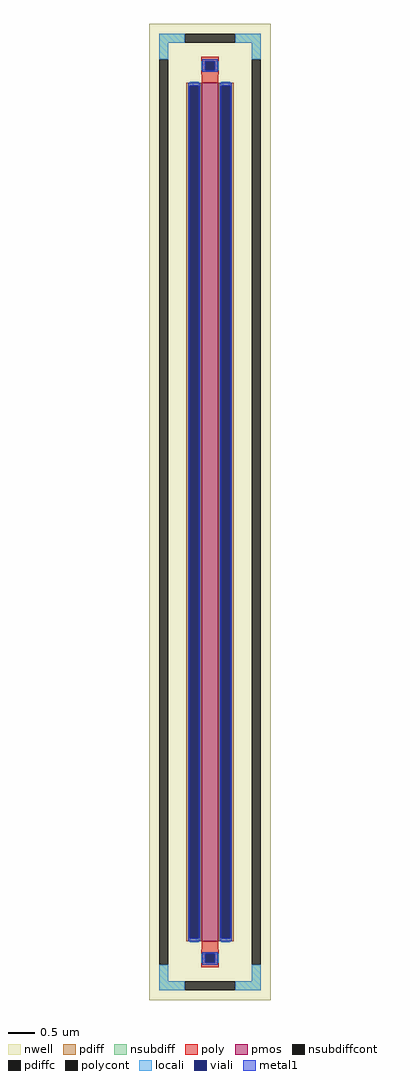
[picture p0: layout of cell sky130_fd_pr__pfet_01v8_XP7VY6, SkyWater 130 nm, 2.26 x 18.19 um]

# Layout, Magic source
magic
tech sky130A
magscale 1 2
<< nwell >>
rect -226 -1819 226 1819
<< pmos >>
rect -30 -1600 30 1600
<< pdiff >>
rect -88 1588 -30 1600
rect -88 -1588 -76 1588
rect -42 -1588 -30 1588
rect -88 -1600 -30 -1588
rect 30 1588 88 1600
rect 30 -1588 42 1588
rect 76 -1588 88 1588
rect 30 -1600 88 -1588
<< pdiffc >>
rect -76 -1588 -42 1588
rect 42 -1588 76 1588
<< nsubdiff >>
rect -190 1749 -94 1783
rect 94 1749 190 1783
rect -190 1687 -156 1749
rect 156 1687 190 1749
rect -190 -1749 -156 -1687
rect 156 -1749 190 -1687
rect -190 -1783 -94 -1749
rect 94 -1783 190 -1749
<< nsubdiffcont >>
rect -94 1749 94 1783
rect -190 -1687 -156 1687
rect 156 -1687 190 1687
rect -94 -1783 94 -1749
<< poly >>
rect -33 1681 33 1697
rect -33 1647 -17 1681
rect 17 1647 33 1681
rect -33 1631 33 1647
rect -30 1600 30 1631
rect -30 -1631 30 -1600
rect -33 -1647 33 -1631
rect -33 -1681 -17 -1647
rect 17 -1681 33 -1647
rect -33 -1697 33 -1681
<< polycont >>
rect -17 1647 17 1681
rect -17 -1681 17 -1647
<< locali >>
rect -190 1749 -94 1783
rect 94 1749 190 1783
rect -190 1687 -156 1749
rect 156 1687 190 1749
rect -33 1647 -17 1681
rect 17 1647 33 1681
rect -76 1588 -42 1604
rect -76 -1604 -42 -1588
rect 42 1588 76 1604
rect 42 -1604 76 -1588
rect -33 -1681 -17 -1647
rect 17 -1681 33 -1647
rect -190 -1749 -156 -1687
rect 156 -1749 190 -1687
rect -190 -1783 -94 -1749
rect 94 -1783 190 -1749
<< viali >>
rect -17 1647 17 1681
rect -76 -1588 -42 1588
rect 42 -1588 76 1588
rect -17 -1681 17 -1647
<< metal1 >>
rect -29 1681 29 1687
rect -29 1647 -17 1681
rect 17 1647 29 1681
rect -29 1641 29 1647
rect -82 1588 -36 1600
rect -82 -1588 -76 1588
rect -42 -1588 -36 1588
rect -82 -1600 -36 -1588
rect 36 1588 82 1600
rect 36 -1588 42 1588
rect 76 -1588 82 1588
rect 36 -1600 82 -1588
rect -29 -1647 29 -1641
rect -29 -1681 -17 -1647
rect 17 -1681 29 -1647
rect -29 -1687 29 -1681
<< properties >>
string FIXED_BBOX -173 -1766 173 1766
string gencell sky130_fd_pr__pfet_01v8
string library sky130
string parameters w 16.0 l 0.3 m 1 nf 1 diffcov 100 polycov 100 guard 1 glc 1 grc 1 gtc 1 gbc 1 tbcov 100 rlcov 100 topc 1 botc 1 poverlap 0 doverlap 1 lmin 0.15 wmin 0.42 compatible {sky130_fd_pr__pfet_01v8  sky130_fd_pr__pfet_01v8_lvt sky130_fd_pr__pfet_01v8_hvt  sky130_fd_pr__pfet_g5v0d10v5} full_metal 1 viasrc 100 viadrn 100 viagate 100 viagb 0 viagr 0 viagl 0 viagt 0
<< end >>
